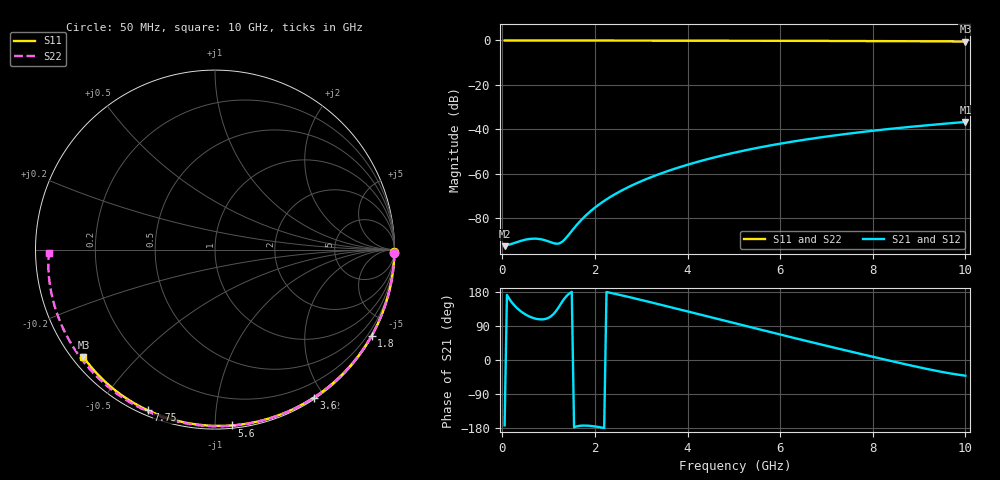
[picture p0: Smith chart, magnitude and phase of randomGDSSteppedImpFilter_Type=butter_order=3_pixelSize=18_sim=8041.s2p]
! freq	dB(S11)	phase(S11)	dB(S12)	phase(S12)
!  dB(S21)	phase(S21)	dB(S22)	phase(S22)
!S-par simulation data
#  GHz  S  DB  R 50
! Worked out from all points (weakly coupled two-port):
!   200 points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, 50 MHz to 10 GHz, reference 50 ohm
!   highest |S21| = -36.70 dB at 10 GHz (marker M1); lowest = -92.7 dB at 50 MHz (marker M2)
!   lowest |S11| = -0.5 dB at 10 GHz (marker M3), VSWR 36.33, Z = 1.55 - j17.8 ohm
!   |S11| at or under -10 dB: nowhere
!   |S22| runs from -0.7 to 0.0 dB; largest |S21 - S12| = 0
!   S11 on the Smith chart (normalised r, x): 50 MHz: open; 1.8 GHz: 0.03, -3.89; 3.6 GHz: 0.02, -1.87; 5.6 GHz: 0.02, -1.10; 7.75 GHz: 0.02, -0.66; 10 GHz: 0.03, -0.36
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0.05  -0.00 -0.8  -92.68 -172.6  -92.68 -172.6  -0.00 -1.0
0.45  -0.01 -7.3  -90.00 124.1  -90.00 124.1  -0.01 -8.9
0.85  -0.02 -13.7  -89.63 107.1  -89.63 107.1  -0.02 -16.8
1.3  -0.03 -20.9  -90.59 155.1  -90.59 155.1  -0.03 -25.5
1.75  -0.04 -28.0  -79.92 -173.1  -79.92 -173.1  -0.04 -34.1
1.8  -0.04 -28.8  -78.91 -173.1  -78.91 -173.1  -0.04 -35.1
1.95  -0.04 -31.2  -76.15 -174.5  -76.15 -174.5  -0.05 -37.9
2.1  -0.04 -33.5  -73.74 -177.2  -73.74 -177.2  -0.05 -40.7
2.45  -0.05 -38.9  -69.06 174.2  -69.06 174.2  -0.06 -47.3
2.9  -0.06 -45.8  -64.33 161.4  -64.33 161.4  -0.07 -55.6
3.4  -0.07 -53.3  -60.12 146.5  -60.12 146.5  -0.09 -64.6
3.6  -0.08 -56.3  -58.65 140.4  -58.65 140.4  -0.09 -68.2
4.3  -0.09 -66.5  -54.21 119.1  -54.21 119.1  -0.11 -80.5
5.05  -0.12 -77.1  -50.38 96.1  -50.38 96.1  -0.14 -93.2
5.6  -0.14 -84.6  -48.02 79.3  -48.02 79.3  -0.17 -102.4
6.15  -0.16 -92.0  -45.98 62.7  -45.98 62.7  -0.20 -111.4
6.7  -0.19 -99.3  -44.18 46.3  -44.18 46.3  -0.24 -120.3
7.75  -0.26 -112.7  -41.28 15.7  -41.28 15.7  -0.32 -137.4
8.35  -0.31 -120.3  -39.88 -1.4  -39.88 -1.4  -0.38 -147.3
9.25  -0.39 -131.5  -38.08 -25.6  -38.08 -25.6  -0.49 -163.1
9.65  -0.44 -136.4  -37.35 -34.9  -37.35 -34.9  -0.56 -170.9
10  -0.48 -140.8  -36.70 -41.4  -36.70 -41.4  -0.67 -178.9
